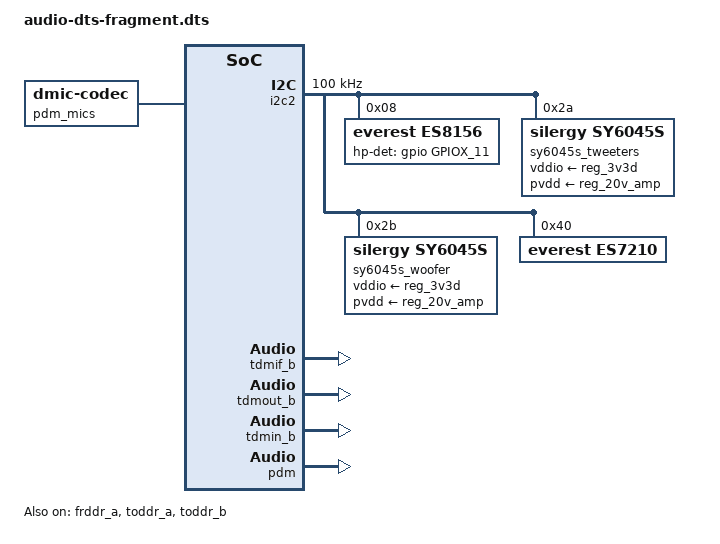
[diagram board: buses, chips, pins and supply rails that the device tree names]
// SPDX-License-Identifier: (GPL-2.0 OR MIT)
/*
 * Yandex Station Max (Amlogic S905X3 / SM1) - audio DTS fragment
 * Target: Linux 7.3 mainline (sound/soc/meson + in-house codec drivers)
 *
 * This file is DOCUMENTATION, not a compilable overlay: it is the exact
 * set of nodes/changes the board DTS (mainline/dts/..., owned separately)
 * needs.  Merge it by hand, do not include it.
 *
 * Legend
 *   [M]  supported by mainline 7.3 as-is (driver + DT binding exist)
 *   [N]  needs the new in-house drivers described in docs/audio.md
 *   [V]  vendor-only, must NOT be copied (userspace /dev/mem poke, etc.)
 *
 * Vendor reference: tools/fw_builder/overlay/dts/sm1_s905x3_yandex.dts
 *   auge_sound        :4244, i2c@1d000 codecs :2126-2164,
 *   audiobus@ff660000 :2391 (tdm@1 = TDM-B, pdm), pdmin pinctrl :1342
 *
 * GPIO numbering: the vendor dt-bindings start the periphs bank one pin
 * earlier (GPIOV_0 = 0, meson-g12a-gpio.h:31 of the vendor tree), so
 *     mainline_pin = vendor_pin - 1        (periphs banks only)
 *     AO bank numbering is identical.
 * e.g. vendor hp-det 0x4d (77) -> GPIOX_11 (76), vendor 20V_AMPL 0x4b
 * (75) -> GPIOX_9 (74) = &reg_20v_amp in the board DTS.
 */

/* ------------------------------------------------------------------ */
/* 0. Rails                                                            */
/* ------------------------------------------------------------------ */
/*
 * &reg_20v_amp already exists in the board DTS (GPIOX_9, always-on,
 * pvdd of both sy6045s).  The 3V3_D rail feeding the codecs' vddio was
 * a separate always-on fixed regulator in the vendor DT
 * (fixedregulator-3v3d, vendor DTS:4417).  If the board DTS does not
 * define it yet, add:
 *
 *	reg_3v3d: regulator-3v3d {
 *		compatible = "regulator-fixed";
 *		regulator-name = "3V3_D";
 *		regulator-min-microvolt = <3300000>;
 *		regulator-max-microvolt = <3300000>;
 *		regulator-always-on;
 *	};
 */

/* ------------------------------------------------------------------ */
/* 1. Codec I2C bus - vendor "i2c@1d000" -> mainline i2c2              */
/*    (0xffd1d000; vendor used the "i2c2_sda_z/i2c2_sck_z" pinmux)     */
/*    [M] i2c2: arch/arm64/boot/dts/amlogic/meson-g12-common.dtsi:2366  */
/* ------------------------------------------------------------------ */
&i2c2 {
	status = "okay";
	pinctrl-0 = <&i2c2_sda_z_pins>, <&i2c2_sck_z_pins>;
	pinctrl-names = "default";
	clock-frequency = <100000>;

	/* [N] Everest ES8156 headphone DAC - no mainline driver.
	 * sound-name-prefix is load-bearing: userspace
	 * (/usr/lib/atrios/audio) addresses the controls by name
	 * "Headphone DAC Playback Volume" / "Headphone Headphone Switch".
	 */
	es8156: audio-codec@8 {
		compatible = "everest,es8156";
		reg = <0x08>;
		#sound-dai-cells = <0>;
		sound-name-prefix = "Headphone";
		/* vendor DT had no supply on this node */
		/* jack detect: vendor aml-audio-card,hp-det-gpio = <&gpio 77 0>
		 * (vendor numbering) -> GPIOX_11, active high in the vendor DT */
		hp-det-gpios = <&gpio GPIOX_11 GPIO_ACTIVE_HIGH>;
		status = "okay";
	};

	/* [N] Silergy SY6045S tweeter amp (L/R tweeters) - new driver */
	sy6045s_tweeters: audio-codec@2a {
		compatible = "silergy,sy6045s";
		reg = <0x2a>;
		#sound-dai-cells = <0>;
		sound-name-prefix = "Tweeters";
		vddio-supply = <&reg_3v3d>;
		pvdd-supply = <&reg_20v_amp>;
		/* vendor property was "firmware"; the new driver should accept
		 * both, the file lives in /lib/firmware */
		firmware-name = "sy6045s-tweeters-settings.txt";
		/* vendor: restore-regs = <0x07 0x01 0xff 0x06 0x01 0x08>
		 * = (addr, size, mask) triplets, see docs/audio.md */
		silergy,restore-regs = <0x07 0x01 0xff 0x06 0x01 0x08>;
		/* no reset/fault GPIO in the vendor DT */
		status = "okay";
	};

	/* [N] Silergy SY6045S woofer amp (PBTL, subwoofer) - new driver */
	sy6045s_woofer: audio-codec@2b {
		compatible = "silergy,sy6045s";
		reg = <0x2b>;
		#sound-dai-cells = <0>;
		sound-name-prefix = "Woofer";
		vddio-supply = <&reg_3v3d>;
		pvdd-supply = <&reg_20v_amp>;
		firmware-name = "sy6045s-woofer-settings.txt";
		silergy,restore-regs = <0x07 0x01 0xff 0x06 0x01 0x08>;
		pbtl-mode;
		status = "okay";
	};

	/* [N] Everest ES7210 mic ADC - no mainline driver.
	 * The vendor used the 2-channel variant ("everest,es7210_2ch");
	 * ALSA only exposes Loopback ADC1/ADC2 gain controls, which is why
	 * the state file has no ADC3/ADC4 entries.  Keep the prefix
	 * "Loopback" for userspace compatibility.
	 */
	es7210: audio-codec@40 {
		compatible = "everest,es7210";
		reg = <0x40>;
		#sound-dai-cells = <0>;
		sound-name-prefix = "Loopback";
		/* the vendor userspace mentions a second chip at 0x43 for the
		 * 8-ch array - NOT present in the vendor DT, needs a probe */
		status = "okay";
	};
};

/* ------------------------------------------------------------------ */
/* 2. TDM-B (vendor tdm@1)                      [M]                   */
/*    CPU side: sound/soc/meson/axg-tdm-interface.c (amlogic,axg-tdm-iface,*/
/*    meson-sm1.dtsi:27 tdmif_b), formatters axg-tdmin.c:243 /          */
/*    axg-tdmout.c:322 (amlogic,sm1-tdmin / sm1-tdmout)                 */
/*                                                                     */
/*    Pads are the AO bank (vendor: tdmb_sclk_ao/fs_ao/dout2_ao/        */
/*    din0_ao/mclk0_ao).  All groups exist in mainline:                */
/*    drivers/pinctrl/meson/pinctrl-meson-g12a.c:867-880 and            */
/*    meson-g12-common.dtsi:1774 (ao_pinctrl).                          */
/*      GPIOAO_8 = sclk, AO_7 = fs, AO_6 = dout2, AO_4 = din0,          */
/*      AO_9 = mclk0                                                    */
/* ------------------------------------------------------------------ */
&tdmif_b {
	pinctrl-0 = <&tdm_ao_b_sclk_pins>, <&tdm_ao_b_fs_pins>,
		    <&tdm_ao_b_dout2_pins>, <&tdm_ao_b_din0_pins>,
		    <&mclk0_ao_pins>;
	pinctrl-names = "default";
	/* TDM-B stays bitclock+frame master (mainline default when no
	 * bitclock-master/frame-master property is given) */
	status = "okay";
};

&tdmout_b {
	status = "okay";
};

&tdmin_b {
	status = "okay";
};

/* DMA front-ends: these are what actually create PCM devices.
 * mainline is a DPCM card - the TDM-B and PDM links are no_pcm
 * (axg-card.c:346), so PCM numbering follows the FE order below.
 */
&frddr_a {
	status = "okay";	/* PCM 0: playback -> TDM-B */
};

&toddr_a {
	status = "okay";	/* PCM 1: capture  <- TDM-B (es7210) */
};

&toddr_b {
	status = "okay";	/* PCM 2: capture  <- PDM */
};

/* ------------------------------------------------------------------ */
/* 3. PDM microphone array                      [M] (untested on SM1) */
/*    sound/soc/meson/axg-pdm.c (amlogic,sm1-pdm -> amlogic,axg-pdm),  */
/*    node meson-sm1.dtsi:496.  Pins: GPIOC_0..4 as "pdm_din0..3_c"/   */
/*    "pdm_dclk_c" (pinctrl-meson-g12a.c:353), pin nodes in            */
/*    meson-g12-common.dtsi:627-780.                                   */
/*    Vendor: pdmin pinctrl (vendor DTS:1342) = exactly these 5 pads.  */
/* ------------------------------------------------------------------ */
&pdm {
	pinctrl-0 = <&pdm_din0_c_pins>, <&pdm_din1_c_pins>,
		    <&pdm_din2_c_pins>, <&pdm_din3_c_pins>,
		    <&pdm_dclk_c_pins>;
	pinctrl-names = "default";
	status = "okay";
};

/* ------------------------------------------------------------------ */
/* 4. Codec stub for the PDM link + the sound card                     */
/* ------------------------------------------------------------------ */
/ {
	/* [M] generic DMIC codec (sound/soc/codecs/dmic.c); it has no
	 * register interface, it just declares the capture DAI. */
	pdm_mics: audio-codec-pdm {
		compatible = "dmic-codec";
		#sound-dai-cells = <0>;
		/* NOT "PDM": the controller itself is already prefixed
		 * "PDM" (meson-sm1.dtsi:500) and the DAPM widget name
		 * "PDM Capture" in audio-routing refers to the controller.
		 * Two widgets cannot share a name. */
		sound-name-prefix = "MIC";
	};

	sound {
		compatible = "amlogic,axg-sound-card";
		/* `model` becomes the card short name: userspace uses
		 * amixer -c AMLAUGESOUND and plughw:AMLAUGESOUND,<dev> */
		model = "AML-AUGESOUND";

		/* Formatters must be aux-devs so DAPM can route through them */
		audio-aux-devs = <&tdmout_b>, <&tdmin_b>;

		audio-widgets = "Headphone", "Headphones";

		/*
		 * TDM-B routing.
		 *   FRDDR_A OUT 1 -> TDMOUT_B   (OUT index is the fixed
		 *   interconnect line: 0 = TDM-A, 1 = TDM-B, 2 = TDM-C,
		 *   3/4 = SPDIF, same as meson-g12a-u200.dts)
		 *   TDMIN_B OUT  -> TODDR_A IN 1
		 *   PDM          -> TODDR_B IN 4
		 * The physical lane (AO_6 = dout2) is not selected here: it is
		 * set by dai-tdm-slot-tx-mask-2 on the TDM-B link below.
		 */
		audio-routing = "TDMOUT_B IN 0", "FRDDR_A OUT 1",
				"TDM_B Playback", "TDMOUT_B OUT",
				/* TDMIN input index = TDM interface index
				 * (A=0, B=1, C=2), cf. meson-g12a-u200.dts */
				"TDMIN_B IN 1", "TDM_B Capture",
				/* TODDR input index = TDMIN block index */
				"TODDR_A IN 1", "TDMIN_B OUT",
				"TODDR_B IN 4", "PDM Capture",
				/* hp jack: sink/source names come from the new
				 * es8156 driver; vendor used "Headphone LOUT/ROUT"
				 * and the card routing
				 * "Headphones" <- "Headphone LOUT"/"Headphone ROUT"
				 * (vendor DTS:4248-4249).  Adjust to the widget
				 * names the driver ends up exposing. */
				"Headphones", "Headphone LOUT",
				"Headphones", "Headphone ROUT";

		/* 24.576 MHz / 12.288 MHz MCLK sources, copied from
		 * meson-g12a-u200.dts; verify with
		 * /sys/kernel/debug/clk/clk_summary on the target */
		clocks = <&clkc CLKID_MPLL2>,
			 <&clkc CLKID_MPLL0>,
			 <&clkc CLKID_MPLL1>;
		assigned-clocks = <&clkc CLKID_MPLL2>,
				  <&clkc CLKID_MPLL0>,
				  <&clkc CLKID_MPLL1>;
		assigned-clock-rates = <294912000>,
				       <270950400>,
				       <393216000>;

		/* ---- PCM front-ends (axg-card.c: meson_card_set_fe_link) ---- */
		dai-link-0 {
			sound-dai = <&frddr_a>;		/* /dev/snd/pcmC0D0p */
		};

		dai-link-1 {
			sound-dai = <&toddr_a>;		/* /dev/snd/pcmC0D1c */
		};

		dai-link-2 {
			sound-dai = <&toddr_b>;		/* /dev/snd/pcmC0D2c */
		};

		/* ---- TDM-B backend: one PCM on the bus, 4 codecs ---- */
		dai-link-3 {
			sound-dai = <&tdmif_b>;
			dai-format = "i2s";		/* vendor: format = "i2s" */
			mclk-fs = <256>;		/* vendor mclk-fs = 0x100 */
			dai-tdm-slot-num = <2>;
			dai-tdm-slot-width = <32>;
			/* vendor: dai-tdm-lane-slot-mask-out = <0 0 1 0>
			 *         dai-tdm-lane-slot-mask-in  = <1 0 0 0>
			 * -> playback on lane 2 (AO_6/dout2), capture on
			 *    lane 0 (AO_4/din0).  mainline syntax: one
			 *    property per lane, value = slot bitmask (2 slots
			 *    => <1 1>), see axg-card.c:175 */
			dai-tdm-slot-tx-mask-2 = <1 1>;
			dai-tdm-slot-rx-mask-0 = <1 1>;

			codec-0 {
				sound-dai = <&sy6045s_woofer>;	/* [N] */
			};
			codec-1 {
				sound-dai = <&sy6045s_tweeters>;/* [N] */
			};
			codec-2 {
				sound-dai = <&es8156>;		/* [N] */
			};
			codec-3 {
				/* capture side of the same I2S bus */
				sound-dai = <&es7210>;		/* [N] */
			};
		};

		/* ---- PDM backend ---- */
		dai-link-4 {
			sound-dai = <&pdm>;
			mclk-fs = <128>;	/* vendor: 0x80 */
			codec {
				sound-dai = <&pdm_mics>;
			};
		};

		/* Optional, later: TDM-C -> tohdmitx (HDMI audio) and
		 * SPDIF-B out, both [M] (meson-sm1.dtsi:430, :455,
		 * sound/soc/meson/g12a-tohdmitx.c).  The vendor card had them
		 * as PCM devices 2 (SPDIF-B) and 3 (TDM-C); on mainline they
		 * would be BE links (no PCM of their own). */
	};
};

/*
 * Things deliberately NOT here:
 *   - aml-audio-card,* properties, prefix-names, "firmware", "pbtl-mode"
 *     on the card node: vendor-only card driver bindings.
 *   - "SPK mute" / "Audio Power Save" kcontrols: they came from the
 *     vendor card and PDM drivers.  check_audio.sh skips "SPK mute" when
 *     absent (usr/lib/atrios/check_audio.sh:367).
 *   - the /dev/mem poke of 0xff660020/0xff660024 that
 *     /etc/init.d/S03amplifiers does on the vendor kernel: mainline's
 *     audio clock driver owns MST_PAD_CTRL0/1 for SM1
 *     (drivers/clk/meson/axg-audio.c:71-72, :867-881).  [V]
 */
